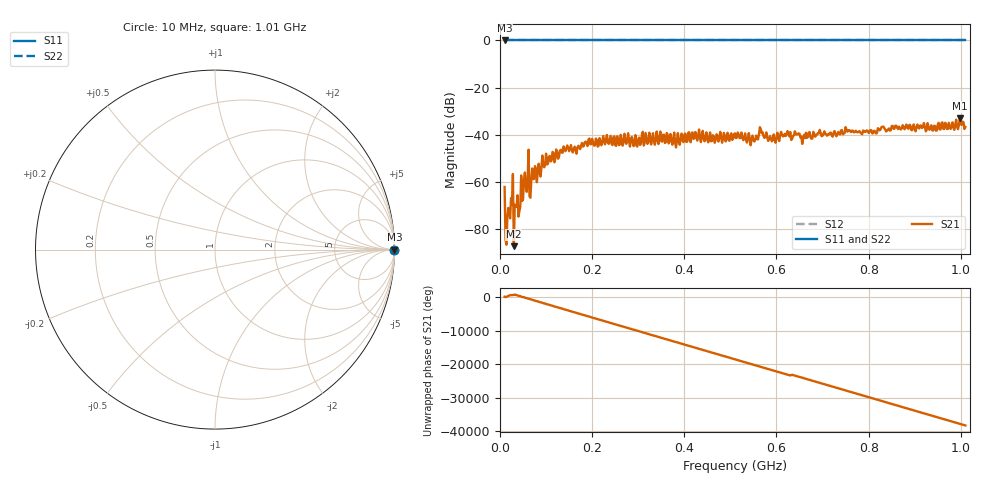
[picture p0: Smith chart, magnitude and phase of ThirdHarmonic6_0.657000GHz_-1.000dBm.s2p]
! 8/15/2025 9:49:49 PM
! C:\ANRITSUVNA\TEMP\TEMP.S2P
! CHANNEL.1
! TR.MEASUREMENT
! RAW.DATA
! RF.CORRECTION.OFF
! AVERAGING.OFF
! IF.BANDWIDTH: 5KHZ
! SWEEPTYPE:  FREQ.SWEEP(Linear)
! Reference Plane Port Info
! PORT:  PORT1  PORT2
! DISTANCE:  0  m  0  m
! TIME:  0  s  0  s
! PHASE.OFFSET:  0  deg.  0  deg.
! LOSS:  0  dB  0  dB
! REF.LOSS:  0  dB  0  dB
! REF.FREQ:  0  Hz  0  Hz
! Power Info
! POWER:  -20  dBm  -20  dBm
! EFF.POWER:  -20  dBm  -20  dBm
! SOURCE.ATTEN:  0  dB  0  dB
! TEST.ATTEN:  0  dB  0  dB
# GHZ S RI R 50.0
! FREQ.GHZ  S11RE  S11IM  S21RE  S21IM  S12RE  S12IM  S22RE  S22IM
!; PortSelection: Port_12
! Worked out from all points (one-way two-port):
!   501 points, 10 MHz to 1.01 GHz, reference 50 ohm
!   highest |S21| = -33.01 dB at 998 MHz (marker M1); lowest = -87.3 dB at 30 MHz (marker M2)
!   lowest |S11| = 0.0 dB at 10 MHz (marker M3)
!   |S11| at or under -10 dB: nowhere
!   |S22| runs from 0.0 to 0.0 dB; largest |S21 - S12| = 1
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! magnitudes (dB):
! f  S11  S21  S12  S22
! 10 MHz  0.0  -62.2  0.0  0.0
! 16 MHz  0.0  -74.7  0.0  0.0
! 24 MHz  0.0  -66.8  0.0  0.0
! 30 MHz  0.0  -87.3  0.0  0.0
! 40 MHz  0.0  -74.7  0.0  0.0
! 58 MHz  0.0  -64.2  0.0  0.0
! 68 MHz  0.0  -58.9  0.0  0.0
! 74 MHz  0.0  -58.7  0.0  0.0
! 84 MHz  0.0  -52.3  0.0  0.0
! 96 MHz  0.0  -53.8  0.0  0.0
! 178 MHz  0.0  -43.5  0.0  0.0
! 344 MHz  0.0  -43.9  0.0  0.0
! 378 MHz  0.0  -39.1  0.0  0.0
! 420 MHz  0.0  -41.8  0.0  0.0
! 510 MHz  0.0  -39.4  0.0  0.0
! 548 MHz  0.0  -40.4  0.0  0.0
! 566 MHz  0.0  -37.6  0.0  0.0
! 594 MHz  0.0  -39.9  0.0  0.0
! 678 MHz  0.0  -41.5  0.0  0.0
! 844 MHz  0.0  -37.3  0.0  0.0
! 998 MHz  0.0  -33.0  0.0  0.0
! 1.01 GHz  0.0  -36.7  0.0  0.0
